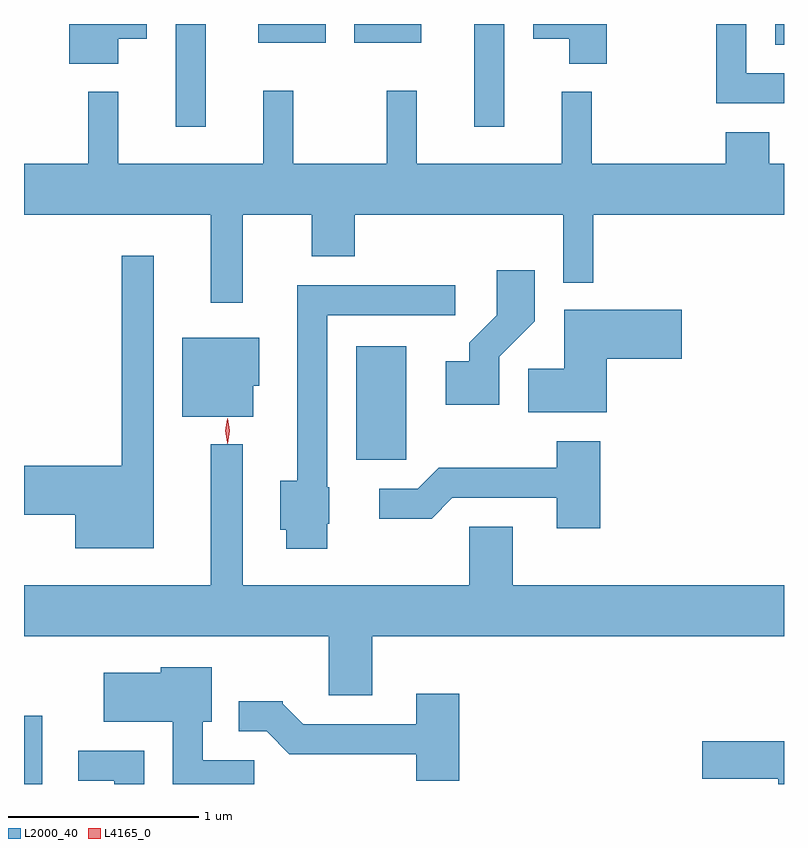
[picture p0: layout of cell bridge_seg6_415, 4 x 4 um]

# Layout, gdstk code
import gdstk
lib = gdstk.Library(unit=1e-6, precision=1e-09)
def R(c, l, rs):  # rectangles x0, y0, x1, y1
    for r in rs: c.add(gdstk.rectangle(r[:2], r[2:], *l))
def P(c, l, *ps):  # polygons
    for p in ps: c.add(gdstk.Polygon(p, *l))
L2000_40 = (2000, 40)
L4165_0 = (4165, 0)

bridge_seg6_415 = lib.new_cell('bridge_seg6_415')
R(bridge_seg6_415, L2000_40, [(1004.977,1598.099,1005.074,1598.459), (1006.726,1599.806,1006.989,1600.404), (1005.776,1601.558,1005.934,1602.099), (1007.346,1601.558,1007.504,1602.099), (1008.931,1601.991,1008.977,1602.099), (1006.211,1602.001,1006.564,1602.099), (1006.716,1602.001,1007.069,1602.099)])
P(bridge_seg6_415, L2000_40, [(1008.977,1601.839),(1008.779,1601.839),(1008.779,1602.099),(1008.621,1602.099),(1008.621,1601.681),(1008.977,1601.681)],
  [(1005.474,1602.021),(1005.624,1602.021),(1005.624,1602.099),(1005.216,1602.099),(1005.216,1601.891),(1005.474,1601.891)],
  [(1008.044,1602.099),(1007.656,1602.099),(1007.656,1602.021),(1007.846,1602.021),(1007.846,1601.891),(1008.044,1601.891)],
  [(1006.129,1601.096),(1006.491,1601.096),(1006.491,1600.876),(1006.719,1600.876),(1006.719,1601.096),(1007.816,1601.096),(1007.816,1600.738),(1007.974,1600.738),(1007.974,1601.096),(1008.977,1601.096),(1008.977,1601.364),(1008.899,1601.364),(1008.899,1601.529),(1008.671,1601.529),(1008.671,1601.364),(1007.964,1601.364),(1007.964,1601.743),(1007.806,1601.743),(1007.806,1601.364),(1007.044,1601.364),(1007.044,1601.748),(1006.886,1601.748),(1006.886,1601.364),(1006.394,1601.364),(1006.394,1601.748),(1006.236,1601.748),(1006.236,1601.364),(1005.474,1601.364),(1005.474,1601.743),(1005.316,1601.743),(1005.316,1601.364),(1004.977,1601.364),(1004.977,1601.096),(1005.961,1601.096),(1005.961,1600.633),(1006.129,1600.633)],
  [(1005.659,1600.878),(1005.491,1600.878),(1005.491,1599.774),(1004.977,1599.774),(1004.977,1599.516),(1005.246,1599.516),(1005.246,1599.341),(1005.659,1599.341)],
  [(1007.479,1600.349),(1007.664,1600.534),(1007.664,1600.804),(1007.466,1600.804),(1007.466,1600.567),(1007.321,1600.422),(1007.321,1600.324),(1007.196,1600.324),(1007.196,1600.096),(1007.479,1600.096)],
  [(1006.574,1599.47),(1006.584,1599.47),(1006.584,1599.66),(1006.574,1599.66),(1006.574,1600.566),(1007.248,1600.566),(1007.248,1600.724),(1006.416,1600.724),(1006.416,1599.694),(1006.326,1599.694),(1006.326,1599.436),(1006.356,1599.436),(1006.356,1599.336),(1006.574,1599.336)],
  [(1008.044,1600.336),(1008.439,1600.336),(1008.439,1600.594),(1007.821,1600.594),(1007.821,1600.284),(1007.631,1600.284),(1007.631,1600.056),(1008.044,1600.056)],
  [(1006.184,1600.196),(1006.214,1600.196),(1006.214,1600.449),(1005.811,1600.449),(1005.811,1600.031),(1006.184,1600.031)],
  [(1008.009,1599.904),(1007.781,1599.904),(1007.781,1599.764),(1007.159,1599.764),(1007.049,1599.654),(1006.848,1599.654),(1006.848,1599.496),(1007.122,1599.496),(1007.232,1599.606),(1007.781,1599.606),(1007.781,1599.446),(1008.009,1599.446)],
  [(1006.809,1598.876),(1008.977,1598.876),(1008.977,1599.144),(1007.549,1599.144),(1007.549,1599.454),(1007.321,1599.454),(1007.321,1599.144),(1006.129,1599.144),(1006.129,1599.888),(1005.961,1599.888),(1005.961,1599.144),(1004.977,1599.144),(1004.977,1598.876),(1006.581,1598.876),(1006.581,1598.566),(1006.809,1598.566)],
  [(1006.189,1598.224),(1005.919,1598.224),(1005.919,1598.426),(1005.964,1598.426),(1005.964,1598.714),(1005.696,1598.714),(1005.696,1598.684),(1005.396,1598.684),(1005.396,1598.426),(1005.761,1598.426),(1005.761,1598.099),(1006.189,1598.099)],
  [(1007.269,1598.574),(1007.041,1598.574),(1007.041,1598.414),(1006.447,1598.414),(1006.34,1598.521),(1006.34,1598.534),(1006.108,1598.534),(1006.108,1598.376),(1006.254,1598.376),(1006.374,1598.256),(1007.041,1598.256),(1007.041,1598.116),(1007.269,1598.116)],
  [(1008.977,1598.324),(1008.546,1598.324),(1008.546,1598.126),(1008.946,1598.126),(1008.946,1598.099),(1008.977,1598.099)],
  [(1005.609,1598.274),(1005.263,1598.274),(1005.263,1598.116),(1005.451,1598.116),(1005.451,1598.099),(1005.609,1598.099)])
P(bridge_seg6_415, L4165_0, [(1006.049,1599.89),(1006.049,1599.89),(1006.039,1599.957),(1006.049,1600.025),(1006.049,1600.025),(1006.05,1600.025),(1006.06,1599.957),(1006.05,1599.89)],
  [(1006.047,1599.893),(1006.046,1599.894),(1006.037,1599.957),(1006.046,1600.02),(1006.047,1600.021),(1006.047,1600.02),(1006.057,1599.957),(1006.047,1599.894)])

lib.write_gds('bridge_seg6_415.gds')
